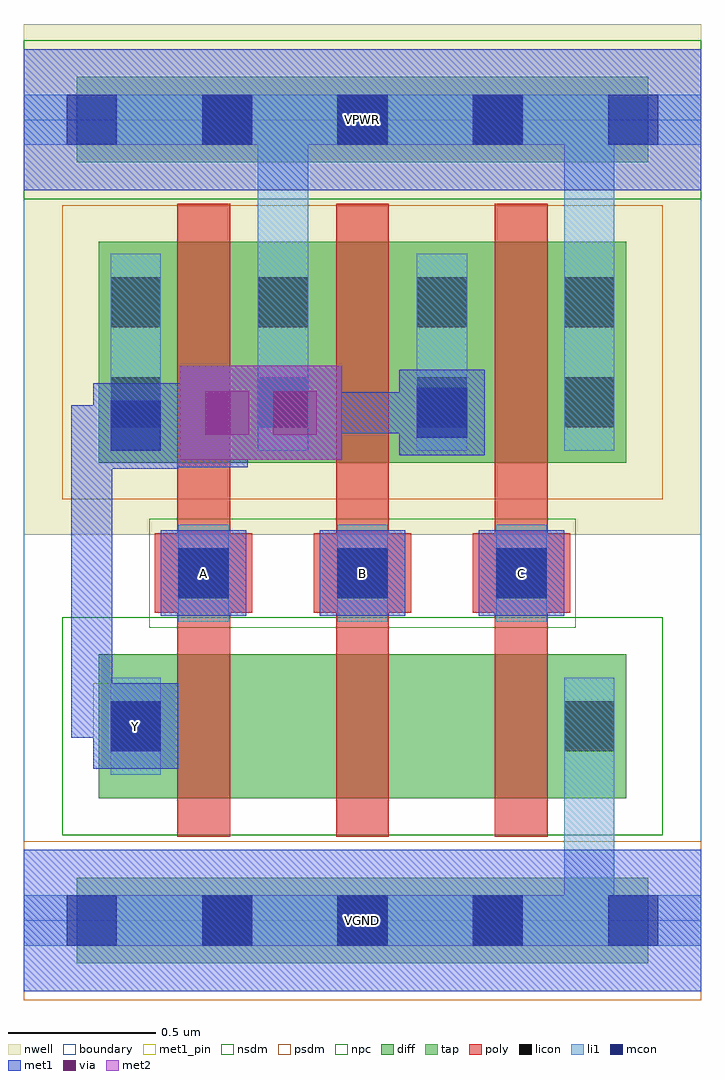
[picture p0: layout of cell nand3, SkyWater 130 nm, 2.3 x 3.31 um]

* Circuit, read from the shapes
.subckt nand3 A B C VGND VPWR Y
XM1 n1 A Y VGND sky130_fd_pr__nfet_01v8 w=0.49 l=0.18
XM2 n2 B n1 VGND sky130_fd_pr__nfet_01v8 w=0.49 l=0.18
XM3 VGND C n2 VGND sky130_fd_pr__nfet_01v8 w=0.49 l=0.18
XM4 VPWR A Y VPWR sky130_fd_pr__pfet_01v8 w=0.75 l=0.18
XM5 Y B VPWR VPWR sky130_fd_pr__pfet_01v8 w=0.75 l=0.18
XM6 VPWR C Y VPWR sky130_fd_pr__pfet_01v8 w=0.75 l=0.18
.ends

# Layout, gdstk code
import gdstk
lib = gdstk.Library(unit=1e-6, precision=1e-09)
def R(c, l, rs):  # rectangles x0, y0, x1, y1
    for r in rs: c.add(gdstk.rectangle(r[:2], r[2:], *l))
def A(c, l, x, y, w, h, nx, ny, dx, dy):  # array of equal rectangles
    R(c, l, [(x+i*dx, y+j*dy, x+i*dx+w, y+j*dy+h) for i in range(nx) for j in range(ny)])
nwell = (64, 20)
diff = (65, 20)
tap = (65, 44)
poly = (66, 20)
licon = (66, 44)
li1 = (67, 20)
mcon = (67, 44)
met1_pin = (68, 16)
met1 = (68, 20)
via = (68, 44)
met2 = (69, 20)
nsdm = (93, 44)
psdm = (94, 20)
npc = (95, 20)
boundary = (235, 4)

nand3 = lib.new_cell('nand3')
R(nand3, nwell, [(0,1.31,2.3,3.045)])
R(nand3, diff, [(0.255,0.415,2.045,0.905), (0.255,1.555,2.045,2.305)])
R(nand3, tap, [(0.18,-0.145,2.12,0.145), (0.18,2.575,2.12,2.865)])
A(nand3, poly, 0.52, 0.285, 0.18, 2.15, 3, 1, 0.54, 0)
A(nand3, poly, 0.445, 1.045, 0.33, 0.27, 3, 1, 0.54, 0)
A(nand3, licon, 0.605, -0.085, 0.17, 0.17, 3, 2, 0.46, 2.72)
A(nand3, licon, 0.525, 1.095, 0.17, 0.17, 3, 1, 0.54, 0)
R(nand3, licon, [(0.295,0.575,0.465,0.745), (1.835,0.575,2.005,0.745), (0.295,1.675,0.465,1.845), (0.795,1.675,0.965,1.845), (1.335,1.675,1.505,1.845), (1.835,1.675,2.005,1.845), (0.295,2.015,0.465,2.185), (0.795,2.015,0.965,2.185), (1.335,2.015,1.505,2.185), (1.835,2.015,2.005,2.185)])
A(nand3, li1, 0.525, 1.015, 0.17, 0.33, 3, 1, 0.54, 0)
R(nand3, li1, [(0,-0.085,2.3,0.085), (1.835,-0.085,2.005,0.825), (0.295,0.495,0.465,0.825), (1.835,0.495,2.005,0.825), (0.295,1.595,0.465,2.265), (0.795,1.595,0.965,2.265), (0.795,1.595,0.965,2.805), (1.335,1.595,1.505,2.265), (1.835,1.595,2.005,2.265), (1.835,1.595,2.005,2.805), (0,2.635,2.3,2.805)])
A(nand3, mcon, 0.145, -0.085, 0.17, 0.17, 5, 2, 0.46, 2.72)
A(nand3, mcon, 0.525, 1.095, 0.17, 0.17, 3, 1, 0.54, 0)
R(nand3, mcon, [(0.295,0.575,0.465,0.745), (0.295,1.595,0.465,1.765), (1.335,1.64,1.505,1.81)])
A(nand3, met1_pin, 0.465, 1.035, 0.29, 0.29, 3, 1, 0.54, 0)
R(nand3, met1_pin, [(0,-0.24,2.3,0.24), (0.235,0.515,0.525,0.805), (0,2.48,2.3,2.96)])
A(nand3, met1, 0.465, 1.035, 0.29, 0.29, 3, 1, 0.54, 0)
R(nand3, met1, [(0,-0.24,2.3,0.24), (0.235,0.515,0.525,0.805), (0.16,0.62,0.415,0.76), (0.16,0.62,0.3,1.565), (0.275,0.62,0.415,0.76), (0.16,1.425,0.3,1.75), (0.16,1.425,0.3,1.68), (0.235,1.535,0.525,1.825), (0.16,1.54,0.76,1.68), (0.525,1.54,0.62,1.795), (0.62,1.54,0.76,1.795), (0.525,1.565,0.53,1.825), (0.53,1.565,0.85,1.885), (0.76,1.565,1.08,1.885), (1.275,1.58,1.565,1.87), (0.16,1.61,0.45,1.75), (0.45,1.61,0.53,1.75), (0.85,1.655,1.335,1.795), (1.195,1.655,1.49,1.795), (0,2.48,2.3,2.96)])
R(nand3, via, [(0.615,1.65,0.765,1.8), (0.845,1.65,0.995,1.8)])
R(nand3, met2, [(0.53,1.565,0.85,1.885), (0.76,1.565,1.08,1.885), (0.62,1.655,0.99,1.795)])
R(nand3, nsdm, [(0.13,0.29,2.17,1.03), (0,2.45,2.3,2.99)])
R(nand3, psdm, [(0,-0.27,2.3,0.27), (0.13,1.43,2.17,2.43)])
R(nand3, npc, [(0.425,0.995,1.875,1.365)])
R(nand3, boundary, [(0,0,2.3,2.72)])
nand3.add(gdstk.Label('A', (0.61,1.18), layer=68, texttype=5))
nand3.add(gdstk.Label('B', (1.15,1.18), layer=68, texttype=5))
nand3.add(gdstk.Label('C', (1.69,1.18), layer=68, texttype=5))
nand3.add(gdstk.Label('Y', (0.38,0.66), layer=68, texttype=5))
nand3.add(gdstk.Label('VPWR', (1.15,2.72), layer=68, texttype=5))
nand3.add(gdstk.Label('VGND', (1.15,0), layer=68, texttype=5))
nand3.add(gdstk.Label('A', (0.61,1.18), layer=68, texttype=16))
nand3.add(gdstk.Label('B', (1.15,1.18), layer=68, texttype=16))
nand3.add(gdstk.Label('C', (1.69,1.18), layer=68, texttype=16))
nand3.add(gdstk.Label('Y', (0.38,0.66), layer=68, texttype=16))
nand3.add(gdstk.Label('VPWR', (1.15,2.72), layer=68, texttype=16))
nand3.add(gdstk.Label('VGND', (1.15,0), layer=68, texttype=16))

lib.write_gds('nand3.gds')
